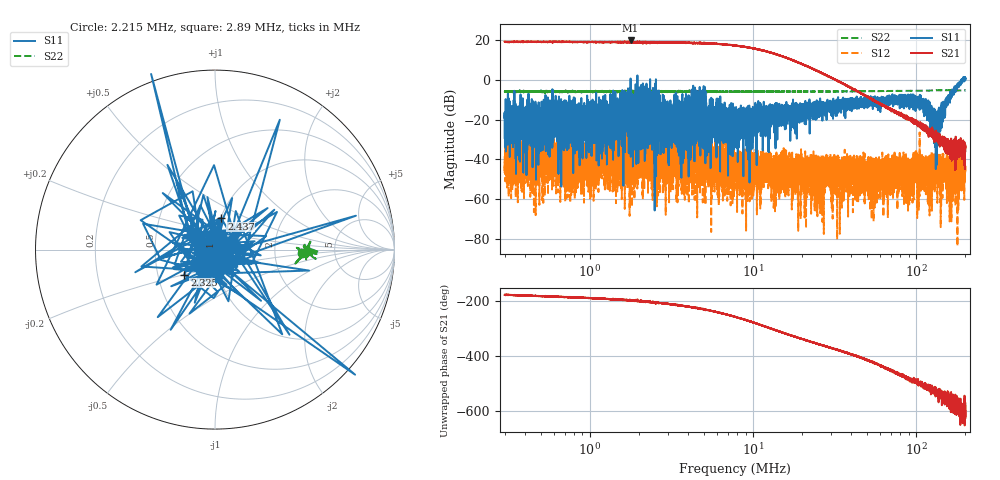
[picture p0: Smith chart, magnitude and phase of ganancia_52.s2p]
# Hz S DB R 50
! CMT, M5065, 19127446, 24.2.4/2
! Date: 11/1/2024 4:46:19 PM
! Data: Format (Calibration Info)
! Freq	S11:dB/Ang(F2)	S21:dB/Ang(F2)	S12:dB/Ang(F2)	S22:dB/Ang(F2)
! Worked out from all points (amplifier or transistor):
!   9000 points, 300 kHz to 200 MHz, reference 50 ohm
!   highest |S21| = 19.9 dB at 1.774 MHz (marker M1)
!   |S21| within 3 dB of that: start of sweep to 8.371 MHz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
!   unconditionally stable (mu >= 1): 2.569 MHz to 3.332 MHz; 3.332 MHz to 4.067 MHz; 5.067 MHz to 189.6 MHz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
!   at 886.8 kHz: K = 24.67, MAG = 20.4 dB, |S12| = -55.5 dB
!   at 7.749 MHz: K = 10.56, MAG = 18.6 dB, |S12| = -46.4 dB
!   at 200 MHz: K = -763.86, MSG = 5.0 dB, |S12| = -46.0 dB
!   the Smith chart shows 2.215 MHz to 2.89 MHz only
!   S11 on the Smith chart (normalised r, x): 2.215 MHz: 1.07, -0.20; 2.325 MHz: 0.69, -0.20; 2.437 MHz: 1.01, +0.36; 2.89 MHz: 0.97, -0.33
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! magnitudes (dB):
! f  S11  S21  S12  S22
! 300 kHz  -17.0  19.3  -45.1  -6.0
! 336.3 kHz  -19.4  19.2  -32.3  -6.1
! 482.6 kHz  -42.8  19.1  -45.0  -5.9
! 594.7 kHz  -19.4  19.2  -35.3  -5.8
! 886.8 kHz  -28.7  19.1  -55.5  -5.9
! 1.774 MHz  0.7  19.9  -43.8  -5.8
! 2.215 MHz  -19.9  18.9  -31.5  -6.3
! 2.325 MHz  -13.2  19.0  -40.5  -6.0
! 2.437 MHz  -15.0  18.9  -45.7  -5.8
! 2.621 MHz  -15.6  18.9  -28.4  -5.6
! 2.89 MHz  -15.6  18.9  -40.6  -5.8
! 4.72 MHz  -22.9  18.5  -43.3  -5.9
! 7.749 MHz  -26.3  17.3  -46.4  -5.8
! 22.91 MHz  -15.1  5.8  -43.3  -5.8
! 67.71 MHz  -8.7  -13.9  -45.9  -5.6
! 81.35 MHz  -8.5  -17.1  -39.5  -5.5
! 91.78 MHz  -9.5  -19.5  -46.8  -5.5
! 105.1 MHz  -11.3  -22.7  -40.4  -5.4
! 117.4 MHz  -16.8  -25.0  -39.9  -5.4
! 132.6 MHz  -21.6  -27.2  -45.7  -5.2
! 161.8 MHz  -9.0  -39.6  -48.8  -5.2
! 200 MHz  0.7  -35.9  -46.0  -5.3
